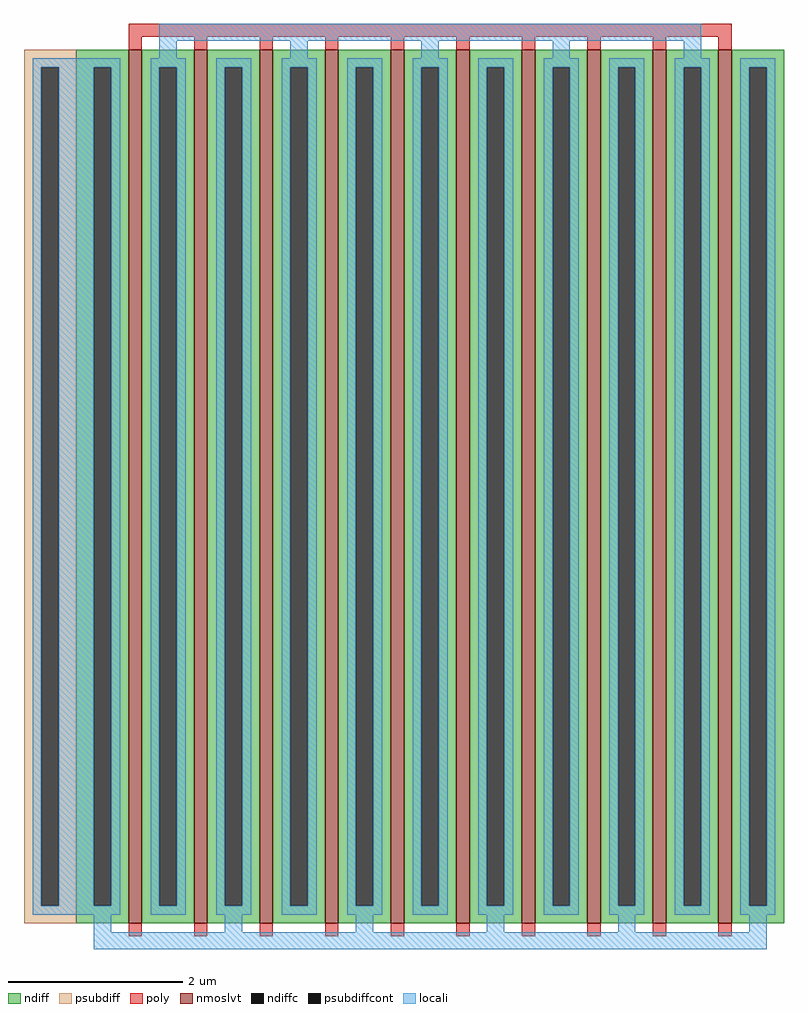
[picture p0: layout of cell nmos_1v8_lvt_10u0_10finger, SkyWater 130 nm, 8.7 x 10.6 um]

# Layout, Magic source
magic
tech sky130A
<< nmoslvt >>
rect 980 -115 995 885
rect 1055 -115 1070 885
rect 1130 -115 1145 885
rect 1205 -115 1220 885
rect 1280 -115 1295 885
rect 1355 -115 1370 885
rect 1430 -115 1445 885
rect 1505 -115 1520 885
rect 1580 -115 1595 885
rect 1655 -115 1670 885
<< ndiff >>
rect 920 865 980 885
rect 920 -95 940 865
rect 960 -95 980 865
rect 920 -115 980 -95
rect 995 865 1055 885
rect 995 -95 1015 865
rect 1035 -95 1055 865
rect 995 -115 1055 -95
rect 1070 865 1130 885
rect 1070 -95 1090 865
rect 1110 -95 1130 865
rect 1070 -115 1130 -95
rect 1145 865 1205 885
rect 1145 -95 1165 865
rect 1185 -95 1205 865
rect 1145 -115 1205 -95
rect 1220 865 1280 885
rect 1220 -95 1240 865
rect 1260 -95 1280 865
rect 1220 -115 1280 -95
rect 1295 865 1355 885
rect 1295 -95 1315 865
rect 1335 -95 1355 865
rect 1295 -115 1355 -95
rect 1370 865 1430 885
rect 1370 -95 1390 865
rect 1410 -95 1430 865
rect 1370 -115 1430 -95
rect 1445 865 1505 885
rect 1445 -95 1465 865
rect 1485 -95 1505 865
rect 1445 -115 1505 -95
rect 1520 865 1580 885
rect 1520 -95 1540 865
rect 1560 -95 1580 865
rect 1520 -115 1580 -95
rect 1595 865 1655 885
rect 1595 -95 1615 865
rect 1635 -95 1655 865
rect 1595 -115 1655 -95
rect 1670 865 1730 885
rect 1670 -95 1690 865
rect 1710 -95 1730 865
rect 1670 -115 1730 -95
<< ndiffc >>
rect 940 -95 960 865
rect 1015 -95 1035 865
rect 1090 -95 1110 865
rect 1165 -95 1185 865
rect 1240 -95 1260 865
rect 1315 -95 1335 865
rect 1390 -95 1410 865
rect 1465 -95 1485 865
rect 1540 -95 1560 865
rect 1615 -95 1635 865
rect 1690 -95 1710 865
<< psubdiff >>
rect 860 865 920 885
rect 860 -95 880 865
rect 900 -95 920 865
rect 860 -115 920 -95
<< psubdiffcont >>
rect 880 -95 900 865
<< poly >>
rect 980 900 1670 915
rect 980 885 995 900
rect 1055 885 1070 900
rect 1130 885 1145 900
rect 1205 885 1220 900
rect 1280 885 1295 900
rect 1355 885 1370 900
rect 1430 885 1445 900
rect 1505 885 1520 900
rect 1580 885 1595 900
rect 1655 885 1670 900
rect 980 -130 995 -115
rect 1055 -130 1070 -115
rect 1130 -130 1145 -115
rect 1205 -130 1220 -115
rect 1280 -130 1295 -115
rect 1355 -130 1370 -115
rect 1430 -130 1445 -115
rect 1505 -130 1520 -115
rect 1580 -130 1595 -115
rect 1655 -130 1670 -115
<< locali >>
rect 1015 895 1635 915
rect 1015 875 1035 895
rect 1165 875 1185 895
rect 1315 875 1335 895
rect 1465 875 1485 895
rect 1615 875 1635 895
rect 870 865 970 875
rect 870 -95 880 865
rect 900 -95 940 865
rect 960 -95 970 865
rect 870 -105 970 -95
rect 1005 865 1045 875
rect 1005 -95 1015 865
rect 1035 -95 1045 865
rect 1005 -105 1045 -95
rect 1080 865 1120 875
rect 1080 -95 1090 865
rect 1110 -95 1120 865
rect 1080 -105 1120 -95
rect 1155 865 1195 875
rect 1155 -95 1165 865
rect 1185 -95 1195 865
rect 1155 -105 1195 -95
rect 1230 865 1270 875
rect 1230 -95 1240 865
rect 1260 -95 1270 865
rect 1230 -105 1270 -95
rect 1305 865 1345 875
rect 1305 -95 1315 865
rect 1335 -95 1345 865
rect 1305 -105 1345 -95
rect 1380 865 1420 875
rect 1380 -95 1390 865
rect 1410 -95 1420 865
rect 1380 -105 1420 -95
rect 1455 865 1495 875
rect 1455 -95 1465 865
rect 1485 -95 1495 865
rect 1455 -105 1495 -95
rect 1530 865 1570 875
rect 1530 -95 1540 865
rect 1560 -95 1570 865
rect 1530 -105 1570 -95
rect 1605 865 1645 875
rect 1605 -95 1615 865
rect 1635 -95 1645 865
rect 1605 -105 1645 -95
rect 1680 865 1720 875
rect 1680 -95 1690 865
rect 1710 -95 1720 865
rect 1680 -105 1720 -95
rect 940 -125 960 -105
rect 1090 -125 1110 -105
rect 1240 -125 1260 -105
rect 1390 -125 1410 -105
rect 1540 -125 1560 -105
rect 1690 -125 1710 -105
rect 940 -145 1710 -125
<< end >>
